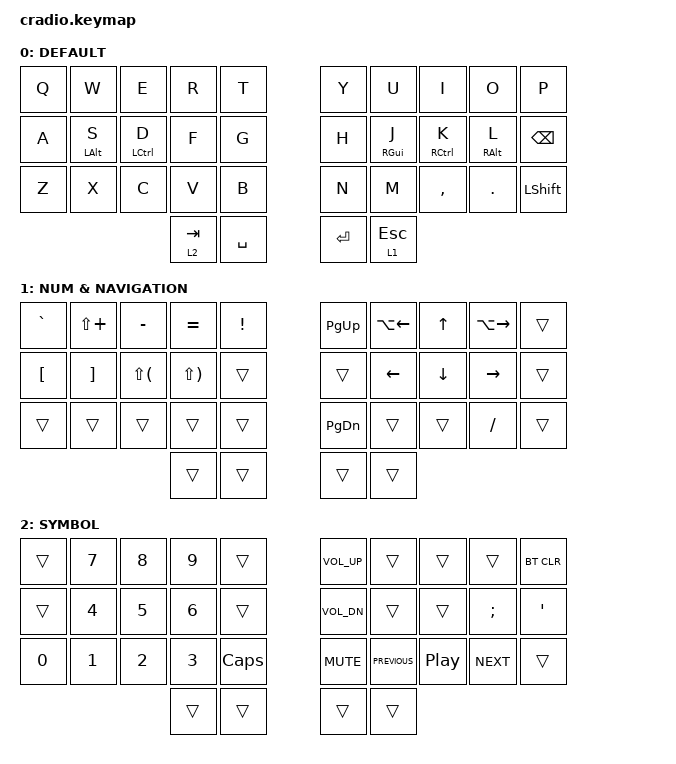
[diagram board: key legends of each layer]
// Copyright (c) 2022 The ZMK Contributors
// SPDX-License-Identifier: MIT

#define ZMK_POINTING_DEFAULT_MOVE_VAL 2500  // 600
#define ZMK_POINTING_DEFAULT_SCRL_VAL 20    // 10

#include <behaviors.dtsi>
#include <dt-bindings/zmk/bt.h>
#include <dt-bindings/zmk/keys.h>

#define MAC 0
#define WIN 1
#define RIG 2
#define LEF 3
#define TRI 4
#define MOUSE 5

/ {
    chosen { zmk,charmap = &charmap_us; };

    behaviors {
        ht: hold_tap {
            label = "hold_tap";
            compatible = "zmk,behavior-hold-tap";
            #binding-cells = <2>;
            flavor = "tap-preferred";
            tapping-term-ms = <220>;
            quick-tap-ms = <150>;
            global-quick-tap;
            bindings = <&kp>, <&kp>;
        };

        mmv {
            acceleration-exponent = <1>;      // 1
            time-to-max-speed-ms = <300>;    // 40
            delay-ms = <0>;                   // 0
        };

        msc {
            acceleration-exponent = <0>;      // 0
            time-to-max-speed-ms = <40>;      // 500
            delay-ms = <0>;                   // 10
        };
    };

    conditional_layers { compatible = "zmk,conditional-layers"; };

    keymap {
        compatible = "zmk,keymap";

        default_layer {
            display-name = "DEFAULT";
            bindings = <
&kp Q  &kp W       &kp E        &kp R       &kp T        &kp Y      &kp U         &kp I        &kp O       &kp P
&kp A  &ht LALT S  &ht LCTRL D  &kp F       &kp G        &kp H      &ht RGUI J    &ht RCTRL K  &ht RALT L  &kp BSPC
&kp Z  &kp X       &kp C        &kp V       &kp B        &kp N      &kp M         &kp COMMA    &kp DOT     &kp LEFT_SHIFT
                                &lt 2 TAB   &kp SPACE    &kp ENTER  &lt 1 ESCAPE
            >;
        };

        right_layer {
            display-name = "NUM & NAVIGATION";
            bindings = <
&kp GRAVE  &kp LS(PLUS)  &kp MINUS     &kp EQUAL     &kp EXCLAMATION    &kp PG_UP  &kp LA(LEFT_ARROW)  &kp UP    &kp LA(RIGHT)  &trans
&kp LBKT   &kp RBKT      &kp LS(LPAR)  &kp LS(RPAR)  &trans             &trans     &kp LEFT            &kp DOWN  &kp RIGHT      &trans
&trans     &trans        &trans        &trans        &trans             &kp PG_DN  &trans              &trans    &kp SLASH      &trans
                                       &trans        &trans             &trans     &trans
            >;
        };

        left_layer {
            display-name = "SYMBOL";
            bindings = <
&trans  &kp N7  &kp N8  &kp N9  &trans          &kp C_VOLUME_UP  &trans          &trans            &trans         &bt BT_CLR
&trans  &kp N4  &kp N5  &kp N6  &trans          &kp C_VOL_DN     &trans          &trans            &kp SEMICOLON  &kp SQT
&kp N0  &kp N1  &kp N2  &kp N3  &kp CAPSLOCK    &kp K_MUTE       &kp C_PREVIOUS  &kp C_PLAY_PAUSE  &kp C_NEXT     &trans
                        &trans  &trans          &trans           &trans
            >;
        };
    };
};
